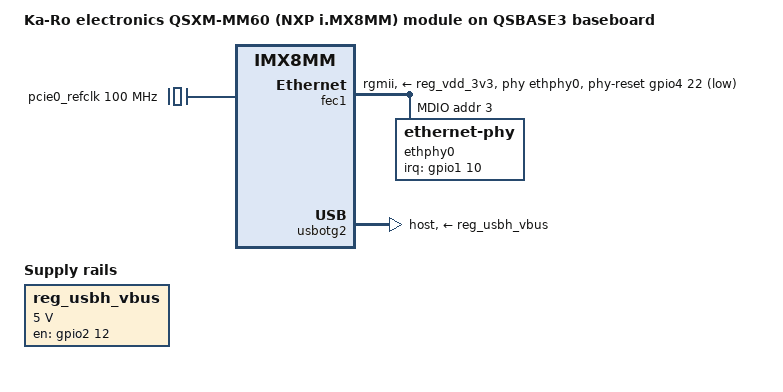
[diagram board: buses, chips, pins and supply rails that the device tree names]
// SPDX-License-Identifier: (GPL-2.0 OR MIT)
/*
 * Copyright (C) 2019 Lothar Waßmann <LW@KARO-electronics.de>
 *
 */

/dts-v1/;

#include "imx8mm-qsxm-mm60.dts"

/ {
	model = "Ka-Ro electronics QSXM-MM60 (NXP i.MX8MM) module on QSBASE3 baseboard";

	aliases {
		pcie = &pcie0;
	};

	pcie0_refclk: pcie0-refclk {
		compatible = "fixed-clock";
		#clock-cells = <0>;
		clock-frequency = <100000000>;
	};

	reg_usbh_vbus: regulator-usbh-vbus {
		compatible = "regulator-fixed";
		regulator-name = "USBH-VBUS";
		regulator-min-microvolt = <5000000>;
		regulator-max-microvolt = <5000000>;
		gpio = <&gpio2 12 GPIO_ACTIVE_HIGH>;
		enable-active-high;
	};
};

&fec1 {
	pinctrl-names = "default", "sleep";
	pinctrl-0 = <&pinctrl_fec1_b &pinctrl_etnphy_rst_b>;
	pinctrl-1 = <&pinctrl_fec1_b_sleep>;
	phy-mode = "rgmii";
	phy-handle = <&ethphy0>;
	phy-supply = <&reg_vdd_3v3>;
	phy-reset-gpios = <&gpio4 22 GPIO_ACTIVE_LOW>;
	phy-reset-duration = <25>;
	phy-reset-post-delay = <100>;
	status = "okay";

	mdio {
		#address-cells = <1>;
		#size-cells = <0>;

		ethphy0: ethernet-phy@3 {
			reg = <3>;
			pinctrl-names = "default";
			pinctrl-0 = <&pinctrl_etnphy_int_b>;
			interrupt-parent = <&gpio1>;
			interrupts = <10 IRQ_TYPE_EDGE_FALLING>;
			micrel,force-master;
			rxd0-skew-ps = <(420 + 111)>;
			rxd1-skew-ps = <(420 + 126)>;
			rxd2-skew-ps = <(420 + 116)>;
			rxd3-skew-ps = <(420 + 126)>;
			txd0-skew-ps = <(420 + 224)>;
			txd1-skew-ps = <(420 + 190)>;
			txd2-skew-ps = <(420 + 184)>;
			txd3-skew-ps = <(420 + 159)>;
			rxdv-skew-ps = <(420 + 135)>;
			txen-skew-ps = <(420 + 129)>;
			rxc-skew-ps = <(900 + 135)>;
			txc-skew-ps = <(900 + 159)>;
		};
	};
};

&pcie0 {
	pinctrl-names = "default";
	pinctrl-0 = <&pinctrl_pcie0>;
	bus-range = <0x00 0xff>;
	disable-gpio = <&gpio2 13 GPIO_ACTIVE_LOW>;
	reset-gpio = <&gpio1 14 GPIO_ACTIVE_LOW>;
	wake-gpio = <&gpio2 20 GPIO_ACTIVE_LOW>;
	clocks = <&clk IMX8MM_CLK_PCIE1_ROOT>,
		 <&clk IMX8MM_CLK_PCIE1_AUX>,
		 <&clk IMX8MM_CLK_PCIE1_PHY>,
		 <&pcie0_refclk>;
	clock-names = "pcie", "pcie_aux", "pcie_phy", "pcie_bus";
	assigned-clocks = <&clk IMX8MM_CLK_PCIE1_AUX>,
			  <&clk IMX8MM_CLK_PCIE1_PHY>,
			  <&clk IMX8MM_CLK_PCIE1_CTRL>;
	assigned-clock-rates = <10000000>, <100000000>, <250000000>;
	assigned-clock-parents = <&clk IMX8MM_SYS_PLL2_50M>,
				 <&clk IMX8MM_SYS_PLL2_100M>,
				 <&clk IMX8MM_SYS_PLL2_250M>;
	ext_osc = <1>;
	status = "disabled";
};

&usdhc2 {
	status = "disabled";
};

&usbotg1 {
	disable-over-current;
};

&usbotg2 {
	pinctrl-names = "default";
	pinctrl-0 = <&pinctrl_usbh_vbus>;
	dr_mode = "host";
	disable-over-current;
	vbus-supply = <&reg_usbh_vbus>;
	status = "okay";
};

&iomuxc {
	pinctrl_etnphy_int_b: etnphy-int-bgrp {
		fsl,pins = <
			    MX8MM_IOMUXC_GPIO1_IO10_GPIO1_IO10		0x90
		>;
	};

	pinctrl_etnphy_rst_b: etnphy-rst-bgrp {
		fsl,pins = <
			    MX8MM_IOMUXC_SAI2_RXC_GPIO4_IO22		0x140
		>;
	};

	pinctrl_fec1_b: fec1-bgrp {
		fsl,pins = <
			    MX8MM_IOMUXC_GPIO1_IO00_CCMSRCGPCMIX_ENET_PHY_REF_CLK_ROOT 0x110
			    MX8MM_IOMUXC_ENET_MDC_ENET1_MDC		0x142
			    MX8MM_IOMUXC_ENET_MDIO_ENET1_MDIO		0x142
			    MX8MM_IOMUXC_ENET_TXC_ENET1_RGMII_TXC	0x40000016
			    MX8MM_IOMUXC_ENET_TD0_ENET1_RGMII_TD0	0x016
			    MX8MM_IOMUXC_ENET_TD1_ENET1_RGMII_TD1	0x016
			    MX8MM_IOMUXC_ENET_TD2_ENET1_RGMII_TD2	0x016
			    MX8MM_IOMUXC_ENET_TD3_ENET1_RGMII_TD3	0x016
			    MX8MM_IOMUXC_ENET_RD0_ENET1_RGMII_RD0	0x150
			    MX8MM_IOMUXC_ENET_RD1_ENET1_RGMII_RD1	0x150
			    MX8MM_IOMUXC_ENET_RD2_ENET1_RGMII_RD2	0x150
			    MX8MM_IOMUXC_ENET_RD3_ENET1_RGMII_RD3	0x150
			    MX8MM_IOMUXC_ENET_RXC_ENET1_RGMII_RXC	0x116
			    MX8MM_IOMUXC_ENET_RX_CTL_ENET1_RGMII_RX_CTL	0x116
			    MX8MM_IOMUXC_ENET_TX_CTL_ENET1_RGMII_TX_CTL	0x016
		>;
	};

	pinctrl_fec1_b_sleep: fec1-b-sleep-grp {
		fsl,pins = <
			    MX8MM_IOMUXC_GPIO1_IO00_GPIO1_IO0		0x120
			    MX8MM_IOMUXC_ENET_MDC_GPIO1_IO16		0x120
			    MX8MM_IOMUXC_ENET_MDIO_GPIO1_IO17		0x120
			    MX8MM_IOMUXC_ENET_TXC_GPIO1_IO23		0x40000120
			    MX8MM_IOMUXC_ENET_TD0_GPIO1_IO21		0x120
			    MX8MM_IOMUXC_ENET_TD1_GPIO1_IO20		0x120
			    MX8MM_IOMUXC_ENET_TD2_GPIO1_IO19		0x120
			    MX8MM_IOMUXC_ENET_TD3_GPIO1_IO18		0x120
			    MX8MM_IOMUXC_ENET_RD0_GPIO1_IO26		0x120
			    MX8MM_IOMUXC_ENET_RD1_GPIO1_IO27		0x120
			    MX8MM_IOMUXC_ENET_RD2_GPIO1_IO28		0x120
			    MX8MM_IOMUXC_ENET_RD3_GPIO1_IO29		0x120
			    MX8MM_IOMUXC_ENET_RXC_GPIO1_IO25		0x120
			    MX8MM_IOMUXC_ENET_RX_CTL_GPIO1_IO24		0x120
			    MX8MM_IOMUXC_ENET_TX_CTL_GPIO1_IO22		0x120
		>;
	};

	pinctrl_pcie0: pcie0grp {
		fsl,pins = <
			MX8MM_IOMUXC_SD2_DATA0_GPIO2_IO15	0x61 /* open drain, pull up */
			MX8MM_IOMUXC_SD2_CLK_GPIO2_IO13		0x41
			MX8MM_IOMUXC_GPIO1_IO14_GPIO1_IO14	0x41
			MX8MM_IOMUXC_SD2_WP_GPIO2_IO20		0x41
		>;
	};

	pinctrl_usbh_vbus: usbh-vbusgrp {
		fsl,pins = <
			MX8MM_IOMUXC_SD2_CD_B_GPIO2_IO12		0x06
		>;
	};
};
